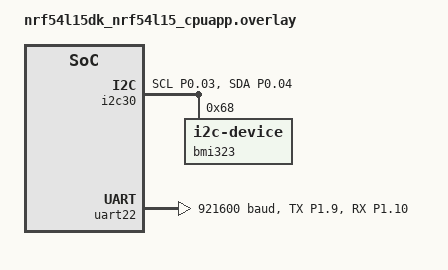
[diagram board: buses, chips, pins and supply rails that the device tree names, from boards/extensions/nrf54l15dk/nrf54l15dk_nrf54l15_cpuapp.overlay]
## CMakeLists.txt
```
# SPDX-License-Identifier: Apache-2.0

cmake_minimum_required(VERSION 3.20.0)

list(APPEND BOARD_ROOT ${CMAKE_CURRENT_SOURCE_DIR})
set(SHIELD npm1300_ek)

find_package(Zephyr REQUIRED HINTS $ENV{ZEPHYR_BASE})
project(hello_world)

target_sources(app PRIVATE src/main.c)
target_sources(app PRIVATE src/npm_fuel_gauge.c)
```

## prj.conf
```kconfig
# nothing here
CONFIG_NRF_FUEL_GAUGE=y
CONFIG_REGULATOR=y
CONFIG_SENSOR=y
CONFIG_PM=y
CONFIG_PM_DEVICE=y
```

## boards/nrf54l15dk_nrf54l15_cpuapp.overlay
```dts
&gpio2 {
    status = "okay";
};

&uicr {
	nfct-pins-as-gpios;
};

&rram_controller {
    /delete-node/ cpuflpr_sram;
    /delete-node/ cpuflpr_rram;
};

/* Adjust the cpuapp_sram to include the freed up cpuflpr_sram */
&cpuapp_sram {
    reg = <0x20000000 DT_SIZE_K(256)>;
    ranges = <0x0 0x20000000 0x20040000>;
};

/* Adjust the cpuapp_rram to include the freed up cpuflpr_rram */
&cpuapp_rram {
    reg = <0x0 DT_SIZE_K(1524)>;
};


/*for npm 1300 control dts*/
#include <dt-bindings/regulator/npm1300.h>
&i2c30_default {
    group1 {
        bias-pull-up;
    };
};

&i2c30 {
    status = "okay";
};

&npm1300_ek_ldo1 {
    regulator-initial-mode = <NPM1300_LDSW_MODE_LDSW>;
    enable-gpios = <&npm1300_ek_gpio 0 GPIO_ACTIVE_LOW>;
};

&npm1300_ek_ldo2 {
    regulator-initial-mode = <NPM1300_LDSW_MODE_LDSW>;
};

&npm1300_ek_pmic {
    host-int-gpios = <&gpio0 02 0>;
    pmic-int-pin = <3>;
};

&npm1300_ek_charger {
    term-microvolt = <4350000>;
    current-microamp = <450000>;
    charging-enable;
};

/ {
	aliases {
	 /delete-property/ sw3;
	 /delete-property/ led3;
	};
  };

/delete-node/ &button3;
/delete-node/ &led3;
```

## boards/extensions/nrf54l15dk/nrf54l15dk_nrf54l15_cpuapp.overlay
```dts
/*
* Copyright (c) 2024 Nordic Semiconductor ASA
*
* SPDX-License-Identifier: LicenseRef-Nordic-5-Clause
*/

&pinctrl {
	/omit-if-no-ref/ i2c30_default: i2c30_default {
		group1  {
			psels = <NRF_PSEL(TWIM_SCL, 0, 03)>,
					<NRF_PSEL(TWIM_SDA, 0, 04)>;
			bias-pull-up;
		};
	};

	/omit-if-no-ref/ i2c30_sleep: i2c30_sleep {
		group1  {
			psels = <NRF_PSEL(TWIM_SCL, 0, 03)>,
					<NRF_PSEL(TWIM_SDA, 0, 04)>;
			low-power-enable;
		};
	};

	uart22_default_alt: uart22_default_alt {
		group1 {
			/delete-property/ psels;
			psels = <NRF_PSEL(UART_TX, 1, 9)>;
		};
		group2 {
			/delete-property/ psels;
			psels = <NRF_PSEL(UART_RX, 1, 10)>;
			bias-pull-up;
		};
	};

	uart22_sleep_alt: uart22_sleep_alt {
		group1 {
			/delete-property/ psels;
			psels = <NRF_PSEL(UART_RX, 1, 10)>,
					<NRF_PSEL(UART_TX, 1, 9)>;
			low-power-enable;
		};
	};
};

/* Define arduino_i2c here so it is available for the shield overlay */
arduino_i2c: &i2c30 {
	compatible = "nordic,nrf-twim";
	pinctrl-0 = <&i2c30_default>;
	pinctrl-1 = <&i2c30_sleep>;
	pinctrl-names = "default", "sleep";
	bmi323: bmi323@68{
		compatible = "i2c-device";
		status = "okay";
		reg = < 0x68 >;
	};
};


&uart22 {
	status = "okay";
	pinctrl-0 = <&uart22_default_alt>;
	pinctrl-1 = <&uart22_sleep_alt>;
	pinctrl-names = "default", "sleep";
	current-speed = <921600>;
	/delete-property/ rts-pin;
	/delete-property/ cts-pin;
	/delete-property/ hw-flow-control;
};
```

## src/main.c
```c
/*
* Copyright (c) 2012-2014 Wind River Systems, Inc.
*
* SPDX-License-Identifier: Apache-2.0
*/

#include <stdio.h>
#include <zephyr/kernel.h>
#include <zephyr/device.h>
#include <zephyr/devicetree.h>
#include <zephyr/drivers/gpio.h>
#include <zephyr/sys/printk.h>
#include <zephyr/pm/device.h>

#include "npm_fuel_gauge.h"


#define GPIO2_NODE DT_NODELABEL(gpio2)
const struct device *uart = DEVICE_DT_GET(DT_CHOSEN(zephyr_console));
const struct device *uart54 = DEVICE_DT_GET(DT_NODELABEL(uart22));
const struct device *gpio2_dev = DEVICE_DT_GET(GPIO2_NODE);


#define AG3352_VCORE_VRF_DCDC_EN 	3
#define AG3352_VRTC_LOAD_SW_EN 		4
#define AG3352_AVDD_VSYS_PWR_CTRL 	6
#define N91_ENABLE 					10


int main(void)
{
	if (!device_is_ready(uart54)) {
		printf("UART device not ready\n");
		return 0;
	}

	gpio_pin_configure(gpio2_dev, AG3352_VCORE_VRF_DCDC_EN, GPIO_OUTPUT_LOW);
	gpio_pin_configure(gpio2_dev, AG3352_VRTC_LOAD_SW_EN, GPIO_OUTPUT_LOW);
	gpio_pin_configure(gpio2_dev, AG3352_AVDD_VSYS_PWR_CTRL, GPIO_OUTPUT_LOW);
	#if 1
	gpio_pin_configure(gpio2_dev, N91_ENABLE, GPIO_OUTPUT_HIGH);
	#else
	gpio_pin_configure(gpio2_dev, N91_ENABLE, GPIO_OUTPUT_LOW);
	#endif
	npm_initial();

	pm_device_action_run(uart, PM_DEVICE_ACTION_SUSPEND);
	pm_device_action_run(uart54, PM_DEVICE_ACTION_SUSPEND);

	for (;;)
	{
		printf("Hello World! %s\n", CONFIG_BOARD_TARGET);
		k_msleep(1000);
	}
	return 0;
}
```

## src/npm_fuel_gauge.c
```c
/*
 * Copyright (c) 2023 Nordic Semiconductor ASA
 * SPDX-License-Identifier: LicenseRef-Nordic-5-Clause
 */

#include <stdlib.h>
#include <zephyr/kernel.h>
#include <zephyr/device.h>
#include <zephyr/sys/printk.h>
#include <zephyr/sys/util.h>
#include <zephyr/drivers/gpio.h>
#include <zephyr/drivers/sensor.h>
#include <zephyr/drivers/regulator.h>
#include <zephyr/drivers/mfd/npm1300.h>
#include <zephyr/drivers/sensor/npm1300_charger.h>
#include <zephyr/dt-bindings/gpio/nordic-npm1300-gpio.h>

#include "nrf_fuel_gauge.h"

/* nPM1300 CHARGER.BCHGCHARGESTATUS.CONSTANTCURRENT register bitmask */
#define NPM1300_CHG_STATUS_CC_MASK 	BIT(3)
#define NPM1300_CHARGING_START	900
#define NPM1300_GPIO_DRIVE_6MA	(1U << 8U) // 6mA drive
#define NPM1300_GPIO_LOAD_SWITCH_1	0
#define NPM1300_GPIO_AP_SENSOR_PWR_VDD	1
#define NPM1300_GPIO_AP_SENSOR_PWR_VDDIO	2


static const struct device *pmic = DEVICE_DT_GET(DT_NODELABEL(npm1300_ek_pmic));
static const struct device *charger = DEVICE_DT_GET(DT_NODELABEL(npm1300_ek_charger));
static const struct device *regulators = DEVICE_DT_GET(DT_NODELABEL(npm1300_ek_regulators));
static const struct device *ldsw1 = DEVICE_DT_GET(DT_NODELABEL(npm1300_ek_ldo1));
static const struct device *ldsw2 = DEVICE_DT_GET(DT_NODELABEL(npm1300_ek_ldo2));
static const struct device *pm_gpio = DEVICE_DT_GET(DT_NODELABEL(npm1300_ek_gpio));

static int64_t ref_time;
extern uint8_t battery_soc;
static float max_charge_current;
static float term_charge_current;
static volatile bool vbus_connected;

static const struct battery_model battery_model = {
#include "battery_model.inc"
};


#if 0
/* Npm sample timer used in active mode. */
static void npm_timer_handler(struct k_timer *timer);
K_TIMER_DEFINE(npm_timer, npm_timer_handler, NULL);
static void npm_timer_handler(struct k_timer *timer)
{
	//开始充电的前15分钟90ma充电;15分钟后 450ma 充电;截止电压4.37v;截止电流10ma.
	ARG_UNUSED(timer);
	printk("npm_timer timeout!\n");
	k_timer_stop(&npm_timer);//15分钟时间到,修改充电电流，关闭定时器。
}
#endif

static void event_callback(const struct device *dev, struct gpio_callback *cb, uint32_t pins)
{
	if (pins & BIT(NPM1300_EVENT_VBUS_DETECTED)) {
		printk("Vbus connected\n");
		vbus_connected = true;
		//k_timer_start(&npm_timer, K_SECONDS(NPM1300_CHARGING_START), K_NO_WAIT);//连接上VBUS之后就开起定时器并开始充电
	}

	if (pins & BIT(NPM1300_EVENT_VBUS_REMOVED)) {
		printk("Vbus removed\n");
		vbus_connected = false;
	}
}

static int read_sensors(const struct device *charger,
	float *voltage, float *current, float *temp, int32_t *chg_status)
{
	struct sensor_value value;
	int ret;

	ret = sensor_sample_fetch(charger);
	if (ret < 0) {
		return ret;
	}

	sensor_channel_get(charger, SENSOR_CHAN_GAUGE_VOLTAGE, &value);
	*voltage = (float)value.val1 + ((float)value.val2 / 1000000);

	sensor_channel_get(charger, SENSOR_CHAN_GAUGE_TEMP, &value);
	*temp = (float)value.val1 + ((float)value.val2 / 1000000);

	sensor_channel_get(charger, SENSOR_CHAN_GAUGE_AVG_CURRENT, &value);
	*current = (float)value.val1 + ((float)value.val2 / 1000000);

	sensor_channel_get(charger, SENSOR_CHAN_NPM1300_CHARGER_STATUS, &value);
	*chg_status = value.val1;

	return 0;
}

int fuel_gauge_init(const struct device *charger)
{
	struct sensor_value value;
	struct nrf_fuel_gauge_init_parameters parameters = {
		.model = &battery_model,
		.opt_params = NULL,
	};
	int32_t chg_status;
	int ret;

	printk("nRF Fuel Gauge version: %s\n", nrf_fuel_gauge_version);

	ret = read_sensors(charger, &parameters.v0, &parameters.i0, &parameters.t0, &chg_status);
	if (ret < 0) {
		return ret;
	}

	/* Store charge nominal and termination current, needed for ttf calculation */
	sensor_channel_get(charger, SENSOR_CHAN_GAUGE_DESIRED_CHARGING_CURRENT, &value);
	max_charge_current = (float)value.val1 + ((float)value.val2 / 1000000);
	term_charge_current = max_charge_current / 10.f;

	nrf_fuel_gauge_init(&parameters, NULL);

	ref_time = k_uptime_get();

	return 0;
}

uint8_t fuel_gauge_update(const struct device *charger, bool vbus_connected)
{
	float voltage;
	float current;
	float temp;
	float soc;
	float tte;
	float ttf;
	float delta;
	int32_t chg_status;
	bool cc_charging;
	int ret;

	ret = read_sensors(charger, &voltage, &current, &temp, &chg_status);
	if (ret < 0) {
		printk("Error: Could not read from charger device\n");
		return ret;
	}

	cc_charging = (chg_status & NPM1300_CHG_STATUS_CC_MASK) != 0;

	delta = (float) k_uptime_delta(&ref_time) / 1000.f;

	soc = nrf_fuel_gauge_process(voltage, current, temp, delta, vbus_connected, NULL);
	tte = nrf_fuel_gauge_tte_get();
	ttf = nrf_fuel_gauge_ttf_get(cc_charging, -term_charge_current);

	printk("V: %.3f, I: %.3f, T: %.2f, ", (double)voltage, (double)current, (double)temp);
	printk("SoC: %.2f, TTE: %.0f, TTF: %.0f\n", (double)soc, (double)tte, (double)ttf);

	return (uint8_t)soc;
}

int npm_initial(void)
{
	int err;

	if (!device_is_ready(pmic)) {
		printk("Pmic device not ready.\n");
		return 0;
	}

	if (!device_is_ready(charger)) {
		printk("Charger device not ready.\n");
		//return 0;
	}

	if (!device_is_ready(regulators)) {
		printk("Regulators device not ready.\n");
		return 0;
	}

	if (!device_is_ready(ldsw1)) {
		printk("Ldsw1 device not ready.\n");
		return 0;
	}

	if (!device_is_ready(ldsw2)) {
		printk("Ldsw2 device not ready.\n");
		return 0;
	}

	if (!device_is_ready(pm_gpio)) {
		printk("Pm_gpio device not ready.\n");
		return 0;
	}

	if (fuel_gauge_init(charger) < 0) {
		printk("Could not initialise fuel gauge.\n");
		return 0;
	}

	static struct gpio_callback event_cb;

	gpio_init_callback(&event_cb, event_callback, BIT(NPM1300_EVENT_VBUS_DETECTED) | BIT(NPM1300_EVENT_VBUS_REMOVED));

	err = mfd_npm1300_add_callback(pmic, &event_cb);
	if (err) {
		printk("Failed to add pmic callback.\n");
		return 0;
	}

	/* Initialise vbus detection status. */
	struct sensor_value val;
	int ret = sensor_attr_get(charger, SENSOR_CHAN_CURRENT, SENSOR_ATTR_UPPER_THRESH, &val);

	if (ret < 0) {
		return false;
	}

	vbus_connected = (val.val1 != 0) || (val.val2 != 0);

	gpio_pin_configure(pm_gpio, NPM1300_GPIO_LOAD_SWITCH_1, GPIO_INPUT);

	gpio_pin_configure(pm_gpio, NPM1300_GPIO_AP_SENSOR_PWR_VDD, GPIO_INPUT);// | NPM1300_GPIO_DRIVE_6MA);	//配置pmic的gpio1输出电流为6mA,给气压计供电
	gpio_pin_configure(pm_gpio, NPM1300_GPIO_AP_SENSOR_PWR_VDDIO, GPIO_INPUT);// | NPM1300_GPIO_DRIVE_6MA);	//配置pmic的gpio2输出电流为6mA,给气压计供电
	//gpio_pin_set(pm_gpio, NPM1300_GPIO_AP_SENSOR_PWR_VDD, 0); // 输出高
	//gpio_pin_set(pm_gpio, NPM1300_GPIO_AP_SENSOR_PWR_VDDIO, 0); // 输出低

	if (!regulator_is_enabled(ldsw2)) {
		regulator_enable(ldsw2);
	}

	regulator_disable(ldsw1);
	regulator_disable(ldsw2);

	printk("PMIC device initial ok\n");
	return 0;
}

void npm_control(void)
{
	battery_soc = fuel_gauge_update(charger, vbus_connected);
}
```

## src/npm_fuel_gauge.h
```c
/*
 * Copyright (c) 2023 Nordic Semiconductor ASA
 * SPDX-License-Identifier: LicenseRef-Nordic-5-Clause
 */

#ifndef __FUEL_GAUGE_H__
#define __FUEL_GAUGE_H__

#ifdef __cplusplus
extern "C" {
#endif

int fuel_gauge_init(const struct device *charger);
uint8_t fuel_gauge_update(const struct device *charger, bool vbus_connected);

int npm_initial(void);
void npm_control(void);

#ifdef __cplusplus
}
#endif

#endif /* __FUEL_GAUGE_H__ */
```
